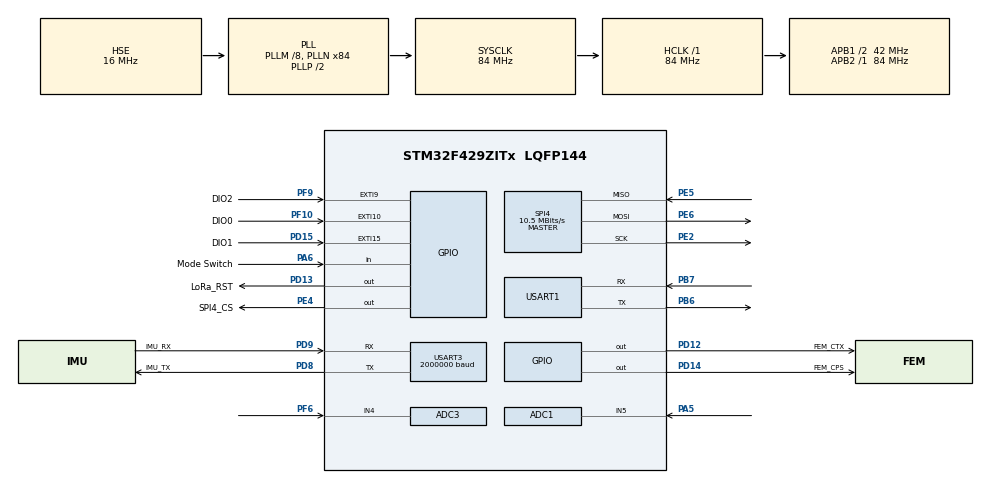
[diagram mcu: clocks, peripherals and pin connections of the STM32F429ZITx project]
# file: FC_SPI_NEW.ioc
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ADC1.Channel-1\#ChannelRegularConversion=ADC_CHANNEL_5
ADC1.ContinuousConvMode=ENABLE
ADC1.NbrOfConversionFlag=1
ADC1.Rank-1\#ChannelRegularConversion=1
ADC1.SamplingTime-1\#ChannelRegularConversion=ADC_SAMPLETIME_3CYCLES
ADC1.master=1
ADC3.Channel-0\#ChannelRegularConversion=ADC_CHANNEL_4
ADC3.NbrOfConversionFlag=1
ADC3.Rank-0\#ChannelRegularConversion=1
ADC3.Resolution=ADC_RESOLUTION_10B
ADC3.SamplingTime-0\#ChannelRegularConversion=ADC_SAMPLETIME_3CYCLES
Dma.Request0=USART3_RX
Dma.Request1=USART3_TX
Dma.Request2=USART1_RX
Dma.Request3=USART1_TX
Dma.Request4=SPI4_RX
Dma.Request5=SPI4_TX
Dma.SPI4_RX.4.Direction=DMA_PERIPH_TO_MEMORY
Dma.SPI4_RX.4.FIFOMode=DMA_FIFOMODE_DISABLE
Dma.SPI4_RX.4.Instance=DMA2_Stream0
Dma.SPI4_RX.4.MemDataAlignment=DMA_MDATAALIGN_BYTE
Dma.SPI4_RX.4.MemInc=DMA_MINC_ENABLE
Dma.SPI4_RX.4.Mode=DMA_NORMAL
Dma.SPI4_RX.4.PeriphDataAlignment=DMA_PDATAALIGN_BYTE
Dma.SPI4_RX.4.PeriphInc=DMA_PINC_DISABLE
Dma.SPI4_RX.4.Priority=DMA_PRIORITY_LOW
Dma.SPI4_TX.5.Direction=DMA_MEMORY_TO_PERIPH
Dma.SPI4_TX.5.FIFOMode=DMA_FIFOMODE_DISABLE
Dma.SPI4_TX.5.Instance=DMA2_Stream1
Dma.SPI4_TX.5.MemDataAlignment=DMA_MDATAALIGN_BYTE
Dma.SPI4_TX.5.MemInc=DMA_MINC_ENABLE
Dma.SPI4_TX.5.Mode=DMA_NORMAL
Dma.SPI4_TX.5.PeriphDataAlignment=DMA_PDATAALIGN_BYTE
Dma.SPI4_TX.5.PeriphInc=DMA_PINC_DISABLE
Dma.SPI4_TX.5.Priority=DMA_PRIORITY_HIGH
Dma.USART1_RX.2.Direction=DMA_PERIPH_TO_MEMORY
Dma.USART1_RX.2.FIFOMode=DMA_FIFOMODE_DISABLE
Dma.USART1_RX.2.Instance=DMA2_Stream2
Dma.USART1_RX.2.MemDataAlignment=DMA_MDATAALIGN_BYTE
Dma.USART1_RX.2.MemInc=DMA_MINC_ENABLE
Dma.USART1_RX.2.Mode=DMA_NORMAL
Dma.USART1_RX.2.PeriphDataAlignment=DMA_PDATAALIGN_BYTE
Dma.USART1_RX.2.PeriphInc=DMA_PINC_DISABLE
Dma.USART1_RX.2.Priority=DMA_PRIORITY_LOW
Dma.USART1_TX.3.Direction=DMA_MEMORY_TO_PERIPH
Dma.USART1_TX.3.FIFOMode=DMA_FIFOMODE_DISABLE
Dma.USART1_TX.3.Instance=DMA2_Stream7
Dma.USART1_TX.3.MemDataAlignment=DMA_MDATAALIGN_BYTE
Dma.USART1_TX.3.MemInc=DMA_MINC_ENABLE
Dma.USART1_TX.3.Mode=DMA_NORMAL
Dma.USART1_TX.3.PeriphDataAlignment=DMA_PDATAALIGN_BYTE
Dma.USART1_TX.3.PeriphInc=DMA_PINC_DISABLE
Dma.USART1_TX.3.Priority=DMA_PRIORITY_LOW
Dma.USART3_RX.0.Direction=DMA_PERIPH_TO_MEMORY
Dma.USART3_RX.0.FIFOMode=DMA_FIFOMODE_DISABLE
Dma.USART3_RX.0.Instance=DMA1_Stream1
Dma.USART3_RX.0.MemDataAlignment=DMA_MDATAALIGN_BYTE
Dma.USART3_RX.0.MemInc=DMA_MINC_ENABLE
Dma.USART3_RX.0.Mode=DMA_NORMAL
Dma.USART3_RX.0.PeriphDataAlignment=DMA_PDATAALIGN_BYTE
Dma.USART3_RX.0.PeriphInc=DMA_PINC_DISABLE
Dma.USART3_RX.0.Priority=DMA_PRIORITY_LOW
Dma.USART3_TX.1.Direction=DMA_MEMORY_TO_PERIPH
Dma.USART3_TX.1.FIFOMode=DMA_FIFOMODE_DISABLE
Dma.USART3_TX.1.Instance=DMA1_Stream3
Dma.USART3_TX.1.MemDataAlignment=DMA_MDATAALIGN_BYTE
Dma.USART3_TX.1.MemInc=DMA_MINC_ENABLE
Dma.USART3_TX.1.Mode=DMA_NORMAL
Dma.USART3_TX.1.PeriphDataAlignment=DMA_PDATAALIGN_BYTE
Dma.USART3_TX.1.PeriphInc=DMA_PINC_DISABLE
Dma.USART3_TX.1.Priority=DMA_PRIORITY_LOW
Mcu.Family=STM32F4
Mcu.Name=STM32F429ZITx
Mcu.Package=LQFP144
NVIC.DMA1_Stream1_IRQn=true\:0\:0\:false\:false\:true\:false\:true\:true
NVIC.DMA1_Stream3_IRQn=true\:0\:0\:false\:false\:true\:false\:true\:true
NVIC.DMA2_Stream0_IRQn=true\:0\:0\:false\:false\:true\:false\:true\:true
NVIC.DMA2_Stream1_IRQn=true\:0\:0\:false\:false\:true\:false\:true\:true
NVIC.DMA2_Stream2_IRQn=true\:0\:0\:false\:false\:true\:false\:true\:true
NVIC.DMA2_Stream7_IRQn=true\:0\:0\:false\:false\:true\:false\:true\:true
NVIC.PriorityGroup=NVIC_PRIORITYGROUP_4
NVIC.SPI4_IRQn=true\:0\:0\:false\:false\:true\:true\:true\:true
NVIC.USART1_IRQn=true\:0\:0\:false\:false\:true\:true\:true\:true
NVIC.USART3_IRQn=true\:0\:0\:false\:false\:true\:true\:true\:true
PA13.Mode=Serial_Wire
PA13.Signal=SYS_JTMS-SWDIO
PA14.Mode=Serial_Wire
PA14.Signal=SYS_JTCK-SWCLK
PA5.Signal=ADCx_IN5
PA6.GPIO_Label=Mode Switch
PA6.GPIO_PuPd=GPIO_PULLDOWN
PA6.Signal=GPIO_Input
PB5.Signal=SPI1_MOSI
PB6.Mode=Asynchronous
PB6.Signal=USART1_TX
PB7.Mode=Asynchronous
PB7.Signal=USART1_RX
PC14/OSC32_IN.Mode=LSE-External-Oscillator
PC14/OSC32_IN.Signal=RCC_OSC32_IN
PC15/OSC32_OUT.Mode=LSE-External-Oscillator
PC15/OSC32_OUT.Signal=RCC_OSC32_OUT
PD12.GPIO_Label=FEM_CTX
PD12.Signal=GPIO_Output
PD13.GPIO_Label=LoRa_RST
PD13.GPIO_Speed=GPIO_SPEED_FREQ_LOW
PD13.PinState=GPIO_PIN_SET
PD13.Signal=GPIO_Output
PD14.GPIO_Label=FEM_CPS
PD14.Signal=GPIO_Output
PD15.GPIO_Label=DIO1
PD15.Signal=GPXTI15
PD8.GPIO_Label=IMU_TX
PD8.Mode=Asynchronous
PD8.Signal=USART3_TX
PD9.GPIO_Label=IMU_RX
PD9.Mode=Asynchronous
PD9.Signal=USART3_RX
PE2.Mode=Full_Duplex_Master
PE2.Signal=SPI4_SCK
PE4.GPIO_Label=SPI4_CS
PE4.PinState=GPIO_PIN_SET
PE4.Signal=GPIO_Output
PE5.Mode=Full_Duplex_Master
PE5.Signal=SPI4_MISO
PE6.Mode=Full_Duplex_Master
PE6.Signal=SPI4_MOSI
PF10.GPIO_Label=DIO0
PF10.Signal=GPXTI10
PF6.Signal=SharedAnalog_PF6
PF9.GPIO_Label=DIO2
PF9.Signal=GPXTI9
PH0/OSC_IN.Mode=HSE-External-Oscillator
PH0/OSC_IN.Signal=RCC_OSC_IN
PH1/OSC_OUT.Mode=HSE-External-Oscillator
PH1/OSC_OUT.Signal=RCC_OSC_OUT
ProjectManager.HeapSize=0x200
ProjectManager.StackSize=0x400
ProjectManager.TargetToolchain=STM32CubeIDE
RCC.48MHZClocksFreq_Value=42000000
RCC.AHBFreq_Value=84000000
RCC.APB1CLKDivider=RCC_HCLK_DIV2
RCC.APB1Freq_Value=42000000
RCC.APB1TimFreq_Value=84000000
RCC.APB2Freq_Value=84000000
RCC.APB2TimFreq_Value=84000000
RCC.CortexFreq_Value=84000000
RCC.HCLKFreq_Value=84000000
RCC.HSE_VALUE=16000000
RCC.HSI_VALUE=16000000
RCC.PLLM=8
RCC.PLLN=84
RCC.PLLSourceVirtual=RCC_PLLSOURCE_HSE
RCC.RCC_RTC_Clock_Source=RCC_RTCCLKSOURCE_LSE
RCC.RCC_RTC_Clock_SourceVirtual=RCC_RTCCLKSOURCE_LSE
RCC.SYSCLKFreq_VALUE=84000000
RCC.SYSCLKSource=RCC_SYSCLKSOURCE_PLLCLK
RCC.VCOOutputFreq_Value=168000000
SH.ADCx_IN5.0=ADC1_IN5,IN5
SH.SharedAnalog_PF6.0=GPIO_Analog
SH.SharedAnalog_PF6.1=ADC3_IN4,IN4
SPI4.BaudRatePrescaler=SPI_BAUDRATEPRESCALER_8
SPI4.CalculateBaudRate=10.5 MBits/s
SPI4.Direction=SPI_DIRECTION_2LINES
SPI4.Mode=SPI_MODE_MASTER
SPI4.VirtualType=VM_MASTER
USART1.VirtualMode=VM_ASYNC
USART3.BaudRate=2000000
USART3.VirtualMode=VM_ASYNC
VP_RTC_VS_RTC_Activate.Mode=RTC_Enabled
VP_RTC_VS_RTC_Calendar.Mode=RTC_Calendar
board=custom

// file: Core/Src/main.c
/* USER CODE BEGIN Header */
/**
 ******************************************************************************
 * @file           : main.c
 * @brief          : Main program body
 ******************************************************************************
 * @attention
 *
 * Copyright (c) 2023 STMicroelectronics.
 * All rights reserved.
 *
 * This software is licensed under terms that can be found in the LICENSE file
 * in the root directory of this software component.
 * If no LICENSE file comes with this software, it is provided AS-IS.
 *
 ******************************************************************************
 */
/* USER CODE END Header */
#include "main.h"
#include "adc.h"
#include "dma.h"
#include "rtc.h"
#include "spi.h"
#include "usart.h"
#include "gpio.h"

/* USER CODE BEGIN PD */

extern UART_HandleTypeDef huart1;
extern DMA_HandleTypeDef hdma_usart1_rx;
extern DMA_HandleTypeDef hdma_usart1_tx;
extern UART_HandleTypeDef huart3;
extern DMA_HandleTypeDef hdma_usart3_rx;
extern DMA_HandleTypeDef hdma_usart3_tx;

#define EXT_uart huart1
#define EXT_DMA_RX hdma_usart1_rx
#define EXT_DMA_TX hdma_usart1_tx
#define IMU_uart huart3
#define IMU_DMA_RX hdma_usart3_rx
#define IMU_DMA_TX hdma_usart3_tx

extern RTC_HandleTypeDef hrtc;

#ifdef __GNUC__
#define PUTCHAR_PROTOTYPE int __io_putchar(int ch)
#else
#define PUTCHAR_PROTOTYPE int fputc(int ch, FILE *f)
#endif /* __GNUC__ */

/* USER CODE END PD */

/* USER CODE BEGIN PV */

PUTCHAR_PROTOTYPE {
	HAL_UART_Transmit(&EXT_uart, (uint8_t*) &ch, 1, 0xFFFF);
//	HAL_UART_Transmit_DMA(&EXT_DMA_TX, (uint8_t *)&ch, 1);
	return ch;
}

RTC_DateTypeDef GetDate;
RTC_TimeTypeDef GetTime;

uint8_t check_ver;
uint8_t addrval;
bool testvar;
bool testvar2;
uint32_t costtime;
LoRa myLoRa;
float testfloat;

extern IMU imu;

uint16_t data_counter;
uint8_t data_hour, data_min, data_sec, data_subSec;
/*temp init ##############################################################*/
uint32_t ADC_read;
int ADC_resolution=12;
int Vin_temp = 3300;
float Vout;//Vout,Vin_temp:in mV
float Vbias = 500;//TMP36 0 degree bias=500mV
float OutV_Temp_ratio=10;//OutV:mV,Temp:Celsius
float data_PA_temp;
/*temp init end###########################################################*/

/* USER CODE END PV */

void SystemClock_Config(void);
/* USER CODE BEGIN PFP */

float hex2float(uint8_t *hexNum);

#define EXT_BUFFER_SIZE 1024
uint8_t EXT_buffer[EXT_BUFFER_SIZE];
bool EXT_got_data;
uint16_t EXT_data_Size;

extern IMU imu;

void HAL_UARTEx_RxEventCallback(UART_HandleTypeDef *huart, uint16_t Size) {
	IMU_UART_CB(huart, Size);

	if (huart->Instance == USART1) {
		EXT_got_data = true;
		EXT_data_Size = Size;

		HAL_UARTEx_ReceiveToIdle_DMA(&EXT_uart, EXT_buffer, EXT_BUFFER_SIZE);
		__HAL_DMA_DISABLE_IT(&hdma_usart1_rx, DMA_IT_HT);
	}

}

/* USER CODE END PFP */

/* USER CODE BEGIN 0 */

typedef struct {
	uint8_t datas[1024];
	int length;
} IMU_DATA_TO_SEND_t;
//typedef struct IMU_DATA_TO_SEND IMU_DATA_TO_SEND_t;

void proc_data_4(IMU_DATA_TO_SEND_t *data, float value) {
	f32_t f32_value;
	f32_value.f = value;
	data->datas[data->length] = f32_value.u8[3];
	data->length += 1;
	data->datas[data->length] = f32_value.u8[2];
	data->length += 1;
	data->datas[data->length] = f32_value.u8[1];
	data->length += 1;
	data->datas[data->length] = f32_value.u8[0];
	data->length += 1;
}

void proc_data_2(IMU_DATA_TO_SEND_t *data, float value) {
	f16_t f16_value;
	f32_t temp;
	temp.f = value;
	f32_to_f16(&temp, &f16_value);
	data->datas[data->length] = f16_value.u8[1];
	data->length += 1;
	data->datas[data->length] = f16_value.u8[0];
	data->length += 1;
}

void proc_data_2_uint16(IMU_DATA_TO_SEND_t *data, uint16_t value) {
	f16_t temp;
	temp.u16 = value;
	data->datas[data->length] = temp.u8[1];
	data->length += 1;
	data->datas[data->length] = temp.u8[0];
	data->length += 1;
}

void proc_data_1_uint8(IMU_DATA_TO_SEND_t *data, uint8_t value) {
	data->datas[data->length] = value;
	data->length += 1;
}

void proc_data_4_uint8(IMU_DATA_TO_SEND_t *data, uint32_t value) {
	f32_t f32_value;
	f32_value.u32 = value;
	data->datas[data->length] = f32_value.u8[3];
	data->length += 1;
	data->datas[data->length] = f32_value.u8[2];
	data->length += 1;
	data->datas[data->length] = f32_value.u8[1];
	data->length += 1;
	data->datas[data->length] = f32_value.u8[0];
	data->length += 1;
}

void imu_data_conv_config(IMU *imu, IMU_DATA_TO_SEND_t *out) {
	out->length = 0;
	memset(out->datas, 0, 1024);
	proc_data_1_uint8(out, data_hour);
	proc_data_1_uint8(out, data_min);
	proc_data_1_uint8(out, data_sec);
	proc_data_1_uint8(out, data_subSec);
	proc_data_2_uint16(out, data_counter);
	proc_data_4(out, imu->deltaQ[0]);
	proc_data_4(out, imu->deltaQ[1]);
	proc_data_4(out, imu->deltaQ[2]);
	proc_data_4(out, imu->deltaQ[3]);
	proc_data_4(out, imu->quaternionWXYZ[0]);
	proc_data_4(out, imu->quaternionWXYZ[1]);
	proc_data_4(out, imu->quaternionWXYZ[2]);
	proc_data_4(out, imu->quaternionWXYZ[3]);
	proc_data_2(out, imu->rateOfTurnXYZ[0]);
	proc_data_2(out, imu->rateOfTurnXYZ[1]);
	proc_data_2(out, imu->rateOfTurnXYZ[2]);
	proc_data_2(out, imu->accelerationXYZ[0]);
	proc_data_2(out, imu->accelerationXYZ[1]);
	proc_data_2(out, imu->accelerationXYZ[2]);
	proc_data_2(out, imu->freeAccelerationXYZ[0]);
	proc_data_2(out, imu->freeAccelerationXYZ[1]);
	proc_data_2(out, imu->freeAccelerationXYZ[2]);
	proc_data_4(out, imu->deltaV[0]);
	proc_data_4(out, imu->deltaV[1]);
	proc_data_4(out, imu->deltaV[2]);
//	proc_data_2(out, imu->positionEcefXYZ[0]);
//	proc_data_2(out, imu->positionEcefXYZ[1]);
//	proc_data_2(out, imu->positionEcefXYZ[2]);
	proc_data_4(out, imu->latitude);
	proc_data_4(out, imu->longitude);
	proc_data_4(out, imu->altitudeEllip);
	proc_data_2(out, imu->velocityXYZ[0]);
	proc_data_2(out, imu->velocityXYZ[1]);
	proc_data_2(out, imu->velocityXYZ[2]);
	proc_data_2(out, imu->temp);
	proc_data_1_uint8(out, imu->myGnssData.fixtype);
	proc_data_1_uint8(out, imu->myGnssData.numSV);
	proc_data_4_uint8(out, imu->status);
	proc_data_2(out, data_PA_temp);
}

void imu_data_conv_config_test(IMU *imu, IMU_DATA_TO_SEND_t *out) {
	out->length = 0;
	proc_data_1_uint8(out, data_hour);
	proc_data_1_uint8(out, data_min);
	proc_data_1_uint8(out, data_sec);
	proc_data_1_uint8(out, data_subSec);
	proc_data_2_uint16(out, data_counter);
	proc_data_2(out, 25.1);
	proc_data_4(out, 1);
	proc_data_4(out, 0);
	proc_data_4(out, 0);
	proc_data_4(out, 0);
	proc_data_2(out, 1);
	proc_data_2(out, 2);
	proc_data_2(out, 3);
	proc_data_2(out, 1);
	proc_data_2(out, 2);
	proc_data_2(out, 3);
	proc_data_2(out, 1);
	proc_data_2(out, 2);
	proc_data_2(out, 3);
	proc_data_2(out, -2937);
	proc_data_2(out, 5087);
	proc_data_2(out, 2476);
	proc_data_4(out, 23);
	proc_data_4(out, 120);
	proc_data_4(out, 100);
	proc_data_2(out, 1);
	proc_data_2(out, 2);
	proc_data_2(out, 3);
	proc_data_4(out, 60);

}

void imu_data_conv_onFly(IMU *imu, IMU_DATA_TO_SEND_t *out) {
	out->length = 0;
	memset(out->datas, 0, 1024);
	proc_data_1_uint8(out, data_hour);
	proc_data_1_uint8(out, data_min);
	proc_data_1_uint8(out, data_sec);
	proc_data_1_uint8(out, data_subSec);
	proc_data_2_uint16(out, data_counter);
	proc_data_4(out, imu->quaternionWXYZ[0]);
	proc_data_4(out, imu->quaternionWXYZ[1]);
	proc_data_4(out, imu->quaternionWXYZ[2]);
	proc_data_4(out, imu->quaternionWXYZ[3]);
	proc_data_2(out, imu->rateOfTurnXYZ[0]);
	proc_data_2(out, imu->rateOfTurnXYZ[1]);
	proc_data_2(out, imu->rateOfTurnXYZ[2]);
	proc_data_2(out, imu->freeAccelerationXYZ[0]);
	proc_data_2(out, imu->freeAccelerationXYZ[1]);
	proc_data_2(out, imu->freeAccelerationXYZ[2]);
	proc_data_4(out, imu->latitude);
	proc_data_4(out, imu->longitude);
	proc_data_4(out, imu->altitudeEllip);
	proc_data_2(out, imu->velocityXYZ[0]);
	proc_data_2(out, imu->velocityXYZ[1]);
	proc_data_2(out, imu->velocityXYZ[2]);

}

GPIO_PinState modeSwitch = 0;
bool state=false, prevstate = false;
typedef enum flymode {
	config, onFly
} flyMode;
flyMode curFlyMode=0;
uint32_t flyModeDebounce=1000;
float debouncedValue = 0;
float a=0.00033;
bool isIdle=false;

bool lora_recv_open = false;
int fly_delay = 200-101;
int config_delay = 1000-169;

/* USER CODE END 0 */

int main(void)
{

  /* MCU Configuration--------------------------------------------------------*/

  /* Reset of all peripherals, Initializes the Flash interface and the Systick. */
  HAL_Init();

  /* USER CODE BEGIN Init */

	HAL_UARTEx_ReceiveToIdle_DMA(&EXT_uart, EXT_buffer, EXT_BUFFER_SIZE);
	__HAL_DMA_DISABLE_IT(&EXT_DMA_RX, DMA_IT_HT);

  /* USER CODE END Init */

  /* Configure the system clock */
  SystemClock_Config();

  /* Initialize all configured peripherals */
  MX_GPIO_Init();
  MX_DMA_Init();
  MX_USART1_UART_Init();
  MX_USART3_UART_Init();
  MX_SPI4_Init();
  MX_RTC_Init();
  MX_ADC3_Init();
  MX_ADC1_Init();
  /* USER CODE BEGIN 2 */

	/*Lora init==============================================================*/
	myLoRa = newLoRa();

	myLoRa.CS_port = SPI4_CS_GPIO_Port;
	myLoRa.CS_pin = SPI4_CS_Pin;
	myLoRa.reset_port = LoRa_RST_GPIO_Port;
	myLoRa.reset_pin = LoRa_RST_Pin;
	myLoRa.DIO0_port = DIO0_GPIO_Port;
	myLoRa.DIO0_pin = DIO0_Pin;
	myLoRa.hSPIx = &hspi4;
	myLoRa.LoRa_modem = LORA_MODEM;
	myLoRa.frequency = 433;             	// default = 433 		MHz
	myLoRa.paselect = RFO;
	myLoRa.maxpower = 7;                    // 0~7 Pmax = 10.8+0.6*maxpower
	myLoRa.outputpower = 10;                // 0~15, Pout(RFO) = Pmax-(15-outputpower), Pout(PA_BOOST) = = 17-(15-outputpower)
	myLoRa.PaDac = 0x84;                    // 0x84:max power = 17dBm   0x87:max power = 20dBm in PA_BOOST pin//-4~15
	myLoRa.overCurrentProtection = 100;     // default = 100 		mA
	myLoRa.bandWidth = BW_250KHz;       	// default = BW_125	KHz
	myLoRa.crcRate = CR_4_5;          		// default = CR_4_5
	myLoRa.implicit_on = EXPLICIT;          // default = EXPLICIT
	myLoRa.spredingFactor = SF_8;           // default = SF_7
	myLoRa.CRCon = 0;
	myLoRa.preamble = 8;              		// default = 8;
	myLoRa.TCXOon = 0;

	uint16_t LoRa_status = LoRa_init(&myLoRa);
	if (LoRa_status == LORA_OK) {            //initialize LoRa configuration
		printf("LoRa is running... \n");
	} else {
		printf("LoRa failed :( \n Error code: %d \n", LoRa_status);
	}
//	LoRa_setLowDaraRateOptimization(&myLoRa, 1);
	LoRa_startReceiving(&myLoRa);
	uint8_t received_data[128];
	uint8_t packet_size = 0;
	/*Lora init end===========================================================*/

	IMU_Init();

  /* USER CODE END 2 */

  /* Infinite loop */
  /* USER CODE BEGIN WHILE */
	uint32_t timer_fly = HAL_GetTick();
	uint32_t timer_config = HAL_GetTick();
	uint32_t loopRunTime = 0;
	bool GPS_no_calied = true;

	IMU_DATA_TO_SEND_t data2Lora;

	data_counter = 0;

	printf("init finish!!!!!!!!!!!!\n");
	while (1) {

    /* USER CODE END WHILE */

    /* USER CODE BEGIN 3 */

		//IMU data gathering
		IMU_process_data();
		IMU_State_mechine();

		/* Get the RTC current Time */
		HAL_RTC_GetTime(&hrtc, &GetTime, RTC_FORMAT_BIN);
		/* Get the RTC current Date */
		HAL_RTC_GetDate(&hrtc, &GetDate, RTC_FORMAT_BIN);

		//Calibrate date ,only run once
		if (	(imu.myGnssData.numSV >= 4)
				&& ((GetDate.Year + 2000) != imu.myGnssData.year)
				&& (GPS_no_calied)) {
			printf("Reset RTC timer\n");
			RTC_TimeTypeDef IMU_time;
			RTC_DateTypeDef IMU_date;

			IMU_date.Year = imu.myGnssData.year - 2000;
			IMU_date.Month = imu.myGnssData.month;
			IMU_date.Date = imu.myGnssData.day;
			IMU_time.Hours = imu.myGnssData.hour;
			IMU_time.Minutes = imu.myGnssData.minute;
			IMU_time.Seconds = imu.myGnssData.second;

			IMU_date.Year = imu.myGnssData.year - 2000;
			IMU_date.Month = imu.myGnssData.month;
			IMU_date.Date = imu.myGnssData.day;
			IMU_time.Hours = imu.myGnssData.hour;
			IMU_time.Minutes = imu.myGnssData.minute;
			IMU_time.Seconds = imu.myGnssData.second;

			HAL_RTC_SetTime(&hrtc, &IMU_time, RTC_FORMAT_BIN);
			HAL_RTC_SetDate(&hrtc, &IMU_date, RTC_FORMAT_BIN);

			GPS_no_calied = false;
		}

		/*check fly mode switch*/
		modeSwitch = HAL_GPIO_ReadPin(Mode_Switch_GPIO_Port, Mode_Switch_Pin);
		if(modeSwitch == SET){
			debouncedValue+=a;
		}else{
			debouncedValue-=a;
		}
//		printf("a:%f\n", debouncedValue);
		if(debouncedValue > 1) debouncedValue=1;
		if(debouncedValue < 0) debouncedValue=0;
		state = (debouncedValue > 0.7);
		if (state == false && prevstate == true
				&& HAL_GetTick() > flyModeDebounce) {
			flyModeDebounce = HAL_GetTick() + 1000;
			if (curFlyMode == config) {
				curFlyMode = onFly;
				data_counter = 0;
				printf("fly mode now --> on fly\n");
			} else {
				curFlyMode = config;
				data_counter = 0;
				printf("fly mode now --> config\n");
			}
		}
		prevstate = state;

		//packing data from IMU to send via Lora
		if (curFlyMode == config) {
			if (isIdle==false && HAL_GetTick()-timer_config>config_delay) {//current state = normal
				data_hour = GetTime.Hours;
				data_min = GetTime.Minutes;
				data_sec = GetTime.Seconds;
				data_subSec = ((float) (255 - GetTime.SubSeconds)) * 1.
						/ ((float) (GetTime.SecondFraction + 1)) * 100;

				/*temp sensor*/
				HAL_ADC_Start(&hadc1);
				ADC_read = HAL_ADC_GetValue(&hadc1);
				Vout = ADC_read/(pow(2,ADC_resolution)-1)*Vin_temp;
				data_PA_temp = (Vout-Vbias)/OutV_Temp_ratio;//temp:in Celsius
		//		printf("temp: %f\n", data_PA_temp);

				imu_data_conv_config(&imu, &data2Lora);
	//				imu_data_conv_config_test(&imu, &data2Lora);

				//LoRa_transmit()
				HAL_GPIO_WritePin(FEM_CPS_GPIO_Port, FEM_CPS_Pin, GPIO_PIN_RESET);
				uint8_t err = LoRa_transmit(&myLoRa, data2Lora.datas, data2Lora.length, TRANSMIT_TIMEOUT);
				if (err == 0) {
					printf("LoRa_transmit timed out\n");
				} else {
					printf("LoRa_transmit seccessed\n");
	//				HAL_Delay(1);
				}
				HAL_GPIO_WritePin(FEM_CPS_GPIO_Port, FEM_CPS_Pin, GPIO_PIN_SET);
				loopRunTime = HAL_GetTick() - loopRunTime;
				printf("acc:%f,%f,%f,%f,%f,%d,%d,%d\n", imu.quaternionWXYZ[0],
						imu.quaternionWXYZ[1], imu.quaternionWXYZ[2],
						imu.quaternionWXYZ[3], data_PA_temp, data2Lora.length,
						loopRunTime, data_counter);
				loopRunTime = HAL_GetTick();
				timer_config = HAL_GetTick();
				data_counter += 1;
			}

			//LoRa_receive()
			HAL_GPIO_WritePin(FEM_CPS_GPIO_Port, FEM_CPS_Pin, GPIO_PIN_SET); //low frequency port switch, RESET for transmit, SET for receive

			memset(received_data, 0, sizeof(received_data)/sizeof(received_data[0]));
			packet_size = LoRa_receive(&myLoRa, received_data, sizeof(received_data)/sizeof(received_data[0]));
	//		packet_size = LoRa_receive_single(&myLoRa, received_data, sizeof(received_data)/sizeof(received_data[0]));

			/*Process data*/
			if (packet_size != 0) {
				printf("LoRa get: %s\n", received_data);
				if(received_data[0] == '1'){ //reset frame
					xsens_mti_reset_orientation(&imu.imu_interface, XSENS_ORIENTATION_ALIGNMENT_RESET);
				}
				if(received_data[0] == '2'){ //command Idle state
					isIdle=true;
				}
				if(received_data[0] == '3'){ //return Normal state
					isIdle=false;
					data_counter = 0;
				}
				if(received_data[0] == '4'){ //switch to flight mode
					curFlyMode = onFly;
					data_counter = 0;
					printf("fly mode now --> on fly\n");
				}
			}

		} else if (curFlyMode == onFly && HAL_GetTick()-timer_fly>fly_delay) {
			data_hour = GetTime.Hours;
			data_min = GetTime.Minutes;
			data_sec = GetTime.Seconds;
			data_subSec = ((float) (255 - GetTime.SubSeconds)) * 1.
					/ ((float) (GetTime.SecondFraction + 1)) * 100;

			imu_data_conv_onFly(&imu, &data2Lora);
			//LoRa_transmit()
			HAL_GPIO_WritePin(FEM_CPS_GPIO_Port, FEM_CPS_Pin, GPIO_PIN_RESET);
			uint8_t err = LoRa_transmit(&myLoRa, data2Lora.datas, data2Lora.length, TRANSMIT_TIMEOUT);
			if (err == 0) {
				printf("LoRa_transmit timed out\n");
			} else {
				printf("LoRa_transmit seccessed\n");
//				HAL_Delay(1);
			}
			HAL_GPIO_WritePin(FEM_CPS_GPIO_Port, FEM_CPS_Pin, GPIO_PIN_SET);
			loopRunTime = HAL_GetTick() - loopRunTime;
			printf("acc:%f,%f,%f,%f,%f,%d,%d,%d\n", imu.quaternionWXYZ[0],
					imu.quaternionWXYZ[1], imu.quaternionWXYZ[2],
					imu.quaternionWXYZ[3], data_PA_temp, data2Lora.length,
					loopRunTime, data_counter);
			loopRunTime = HAL_GetTick();
			timer_fly = HAL_GetTick();
			data_counter += 1;
		}
	}
  /* USER CODE END 3 */
}

void SystemClock_Config(void)
{
  RCC_OscInitTypeDef RCC_OscInitStruct = {0};
  RCC_ClkInitTypeDef RCC_ClkInitStruct = {0};

  /** Configure the main internal regulator output voltage
  */
  __HAL_RCC_PWR_CLK_ENABLE();
  __HAL_PWR_VOLTAGESCALING_CONFIG(PWR_REGULATOR_VOLTAGE_SCALE3);

  /** Initializes the RCC Oscillators according to the specified parameters
  * in the RCC_OscInitTypeDef structure.
  */
  RCC_OscInitStruct.OscillatorType = RCC_OSCILLATORTYPE_HSE|RCC_OSCILLATORTYPE_LSE;
  RCC_OscInitStruct.HSEState = RCC_HSE_ON;
  RCC_OscInitStruct.LSEState = RCC_LSE_ON;
  RCC_OscInitStruct.PLL.PLLState = RCC_PLL_ON;
  RCC_OscInitStruct.PLL.PLLSource = RCC_PLLSOURCE_HSE;
  RCC_OscInitStruct.PLL.PLLM = 8;
  RCC_OscInitStruct.PLL.PLLN = 84;
  RCC_OscInitStruct.PLL.PLLP = RCC_PLLP_DIV2;
  RCC_OscInitStruct.PLL.PLLQ = 4;
  if (HAL_RCC_OscConfig(&RCC_OscInitStruct) != HAL_OK)
  {
    Error_Handler();
  }

  /** Initializes the CPU, AHB and APB buses clocks
  */
  RCC_ClkInitStruct.ClockType = RCC_CLOCKTYPE_HCLK|RCC_CLOCKTYPE_SYSCLK
                              |RCC_CLOCKTYPE_PCLK1|RCC_CLOCKTYPE_PCLK2;
  RCC_ClkInitStruct.SYSCLKSource = RCC_SYSCLKSOURCE_PLLCLK;
  RCC_ClkInitStruct.AHBCLKDivider = RCC_SYSCLK_DIV1;
  RCC_ClkInitStruct.APB1CLKDivider = RCC_HCLK_DIV2;
  RCC_ClkInitStruct.APB2CLKDivider = RCC_HCLK_DIV1;

  if (HAL_RCC_ClockConfig(&RCC_ClkInitStruct, FLASH_LATENCY_2) != HAL_OK)
  {
    Error_Handler();
  }
}

/* USER CODE BEGIN 4 */
float hex2float(uint8_t *hexNum) {
	union {
		char conv_char[4];
		float output_float;
	} uni;
	uni.conv_char[3] = (char) (hexNum[3]);
	uni.conv_char[2] = (char) (hexNum[2]);
	uni.conv_char[1] = (char) (hexNum[1]);
	uni.conv_char[0] = (char) (hexNum[0]);

	return uni.output_float;
}
/* USER CODE END 4 */

void Error_Handler(void)
{
	__disable_irq();
	while (1) {
	}
}
